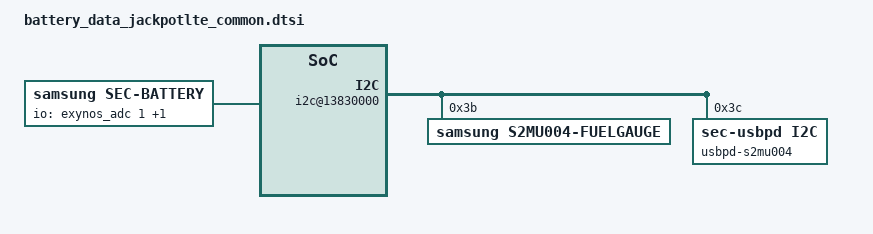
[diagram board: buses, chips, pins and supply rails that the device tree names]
/*
 * Jackpot Battery parameters device tree file for board IDs 04 and higher
 *
 * Copyright (C) 2017 Samsung Electronics, Inc.
 *
 * This program is free software; you can redistribute it and/or
 * modify it under the terms of the GNU General Public License
 * as published by the Free Software Foundation; either version 2
 * of the License, or (at your option) any later version.
 *
 * This program is distributed in the hope that it will be useful,
 * but WITHOUT ANY WARRANTY; without even the implied warranty of
 * MERCHANTABILITY or FITNESS FOR A PARTICULAR PURPOSE.  See the
 * GNU General Public License for more details.
 *
 * You should have received a copy of the GNU General Public License
 * along with this program. If not, see <http://www.gnu.org/licenses/>.
 *
 */

/ {
	pinctrl@11CB0000 {
		fuel_irq: fuel-irq {
			samsung,pins = "gpa2-4";
			samsung,pin-function = <0>;
			samsung,pin-pud = <2>;
			samsung,pin-drv = <0>;
		};

		if_pmic_irq: if-pmic-irq {
			samsung,pins = "gpa2-2";
			samsung,pin-function = <0>;
			samsung,pin-pud = <0>;
			samsung,pin-drv = <0>;
		};

		usbpd_irq: usbpd-irq {
			samsung,pins = "gpa2-3";
			samsung,pin-function = <0x0f>;
			samsung,pin-pud = <0>;
			samsung,pin-drv = <0>;
		};
	};

	i2c@13830000 {
		i2c-gpio,delay-us = <5>;
		status = "okay";
		s2mu004-fuelgauge@3B {
			compatible = "samsung,s2mu004-fuelgauge";
			reg = <0x3B>;
			pinctrl-names = "default";
			pinctrl-0 = <&fuel_irq>;
			fuelgauge,fuel_int = <&gpa2 4 0>;
			fuelgauge,fuel_alert_soc = <1>;
			fuelgauge,fuel_alert_vol = <3300>;
			fuelgauge,low_temp_limit = <100>;
			fuelgauge,sw_vbat_l_recovery_vol = <3465>;
			fuelgauge,capacity_max = <1000>;
			fuelgauge,capacity_max_margin = <200>;
			fuelgauge,capacity_min = <0>;
			fuelgauge,capacity_calculation_type = <28>;
			fuelgauge,capacity_full = <3000>;
			fuelgauge,type_str = "SDI";
			fuelgauge,model_type = <1>;
			fuelgauge,fg_log_enable = <1>;
		};

		usbpd-s2mu004@3C {
			compatible = "sec-usbpd,i2c";
			reg = <0x3C>;
			pinctrl-names = "default";
			pinctrl-0     = <&usbpd_irq>;
			usbpd,usbpd_int = <&gpa2 3 0>;
		};
	};

	battery_params {
			battery,battery_data =
				<
				/***** battery data for 4.35 *****/
				/* battery,battery_table3 */
				136 11 5 11 131 10 1 10 140 9
				29 9 181 8 87 8 214 7 155 7
				62 7 222 6 167 6 126 6 93 6
				66 6 34 6 250 5 196 5 146 5
				7 5 196 1 215 8 106 8 253 7
				143 7 34 7 181 6 71 6 218 5
				108 5 255 4 146 4 36 4 183 3
				73 3 220 2 111 2 1 2 148 1
				38 1 185 0 76 0 222 15

				/* battery,battery_table4 */
				58 58 58 58 59 59 59 60 60 59
				59 59 60 60 61 63 64 67 71 78
				90 179

				/* battery,batcap */
				0x38 0x2C 0x0E 0x0B /* [0x0E] [0x0F] [0x10] [0x11] */
				/* battery,accum */
				0x7 0xD7 /* [0x45] [0x44] */

				/* battery,soc_arr_val */
				11052 10518 9984 9450 8916 8382 7848 7312 6778 6245
				5711 5177 4643 4109 3575 3041 2507 1971 1438 903
				370 (-164)
				/* battery,ocv_arr_val */
				44414 43777 43139 42504 41935 41392 40884 40426 39797 39508
				39052 38582 38315 38113 37953 37820 37665 37471 37207 36964
				36286 32208

				/***** battery data for 4.33 *****/
				/* battery,battery_table3 */
				136 11 5 11 131 10 1 10 140 9
				29 9 181 8 87 8 214 7 155 7
				62 7 222 6 167 6 126 6 93 6
				65 6 34 6 250 5 196 5 146 5
				7 5 196 1 238 8 127 8 17 8
				162 7 52 7 197 6 87 6 232 5
				122 5 11 5 157 4 47 4 192 3
				82 3 227 2 117 2 6 2 152 1
				41 1 187 0 76 0 222 15

				/* battery,battery_table4 */
				58 58 58 58 59 59 59 60 60 59
				59 59 60 60 61 63 64 67 71 78
				90 179

				/* battery,batcap */
				0x68 0x2E 0x9A 0x0B /* [0x0E] [0x0F] [0x10] [0x11] */
				/* battery,accum */
				0x7 0xD7 /* [0x45] [0x44] */

				/* battery,soc_arr_val */
				11160 10621 10082 9542 9003 8464 7924 7385 6846 6306
				5767 5228 4688 4149 3609 3070 2531 1991 1452 913
				373 (-166)
				/* battery,ocv_arr_val */
				44414 43777 43139 42505 41935 41393 40884 40425 39797 39508
				39053 38582 38315 38113 37953 37819 37665 37471 37207 36964
				36285 32208
		
				/***** battery data for 4.31 *****/
				/* battery,battery_table3 */
				136 11 5 11 131 10 1 10 140 9
				29 9 181 8 87 8 214 7 155 7
				62 7 222 6 167 6 126 6 93 6
				65 6 34 6 250 5 196 5 146 5
				7 5 196 1 7 9 152 8 40 8
				184 7 73 7 217 6 106 6 250 5
				138 5 27 5 171 4 60 4 204 3
				93 3 237 2 126 2 14 2 158 1
				47 1 191 0 80 0 224 15

				/* battery,battery_table4 */
				58 58 58 58 59 59 59 60 60 59
				59 59 60 60 61 63 64 67 71 78
				90 179

				/* battery,batcap */
				0xA0 0x2D 0x68 0x0B /* [0x0E] [0x0F] [0x10] [0x11] */
				/* battery,accum */
				0x7 0xD7 /* [0x45] [0x44] */

				/* battery,soc_arr_val */
				11285 10740 10195 9650 9106 8561 8016 7471 6926 6382
				5837 5292 4747 4202 3658 3113 2567 2023 1477 934
				388 (-156)
				/* battery,ocv_arr_val */
				44414 43777 43139 42505 41936 41393 40884 40425 39797 39508
				39053 38582 38315 38113 37953 37819 37665 37471 37207 36964
				36285 32208

				/***** battery data for 4.29 *****/
				/* battery,battery_table3 */
				136 11 5 11 131 10 1 10 140 9
				29 9 181 8 87 8 214 7 155 7
				62 7 222 6 167 6 126 6 93 6
				66 6 34 6 250 5 196 5 146 5
				8 5 196 1 61 9 203 8 89 8
				231 7 116 7 2 7 144 6 29 6
				171 5 57 5 198 4 84 4 226 3
				111 3 253 2 139 2 25 2 166 1
				52 1 194 0 79 0 221 15

				/* battery,battery_table4 */
				58 58 58 58 59 59 59 60 60 59
				59 59 60 60 61 63 64 67 71 78
				90 179

				/* battery,batcap */
				0xD8 0x2C 0x36 0x0B /* [0x0E] [0x0F] [0x10] [0x11] */
				/* battery,accum */
				0x7 0xD7 /* [0x45] [0x44] */

				/* battery,soc_arr_val */
				11550 10992 10434 9876 9318 8759 8201 7643 7085 6526
				5969 5411 4852 4294 3736 3178 2620 2062 1503 945
				387 (-171)

				/* battery,ocv_arr_val */
				44416 43777 43137 42505 41935 41393 40884 40425 39797 39508
				39053 38582 38315 38113 37953 37820 37665 37471 37207 36964
				36287 32208

				/***** battery data for 4.24 *****/
				/* battery,battery_table3 */
				136 11 5 11 131 10 1 10 140 9
				29 9 181 8 87 8 214 7 155 7
				62 7 222 6 167 6 126 6 93 6
				65 6 34 6 250 5 196 5 146 5
				7 5 196 1 174 9 54 9 190 8
				71 8 207 7 87 7 223 6 104 6
				240 5 120 5 0 5 137 4 17 4
				153 3 33 3 170 2 50 2 186 1
				66 1 203 0 83 0 219 15

				/* battery,battery_table4 */
				58 58 58 58 59 59 59 60 60 59
				59 59 60 60 61 63 64 67 71 78
				90 179

				/* battery,batcap */
				0xD0 0x2A 0xB4 0x0A/* [0x0E] [0x0F] [0x10] [0x11] */
				/* batteryaccum */
				0x7 0xD7 /* [0x45] [0x44] */

				/* batterysoc_arr_val */
				12100 11515 10930 10345 9761 9176 8591 8006 7422 6837
				6252 5667 5083 4498 3913 3328 2744 2159 1574 989
				405 (-180)

				/* batteryocv_arr_val */
				44414 43777 43139 42504 41935 41393 40884 40425 39797 39508
				39052 38582 38315 38113 37953 37819 37665 37471 37207 36964
				36285 32208
				>;

			battery,battery_table3 = <
						136 11 5 11 131 10 1 10 140 9
						29 9 181 8 87 8 214 7 155 7
						62 7 222 6 167 6 126 6 93 6
						66 6 34 6 250 5 196 5 146 5
						7 5 196 1 215 8 106 8 253 7
						143 7 34 7 181 6 71 6 218 5
						108 5 255 4 146 4 36 4 183 3
						73 3 220 2 111 2 1 2 148 1
						38 1 185 0 76 0 222 15
						>;

			battery,battery_table4 = <
						58 58 58 58 59 59 59 60 60 59
						59 59 60 60 61 63 64 67 71 78
						90 179
						>;

			battery,batcap = <0x38 0x2C 0x0E 0x0B>; /* [0x0E] [0x0F] [0x10] [0x11] */
			battery,accum = <0x7 0xD7>; /* [0x45] [0x44] */

			battery,soc_arr_val = <
						11052 10518 9984 9450 8916 8382 7848 7312 6778 6245
						5711 5177 4643 4109 3575 3041 2507 1971 1438 903
						370 (-164)
						>;
			battery,ocv_arr_val = <
						44414 43777 43139 42504 41935 41392 40884 40426 39797 39508
						39052 38582 38315 38113 37953 37820 37665 37471 37207 36964
						36286 32208
						>;
	};

	pdic-manager {
		/* sink */
		pdic,max_power = <5000>;
		pdic,op_power = <2500>;
		pdic,max_voltage = <6000>;
		pdic,max_current = <2000>;
		pdic,min_current = <500>;

		pdic,giveback = <0>;
		pdic,usb_com_capable = <1>;
		pdic,no_usb_suspend = <1>;

		/* source */
		source,max_voltage = <5000>;
		source,min_voltage = <4000>;
		source,max_power = <2500>;

		/* sink cap */
		sink,capable_max_voltage = <9000>;
	};

	battery {
		status = "okay";
		compatible = "samsung,sec-battery";

		pinctrl-names = "default";

		battery,vendor = "Battery";
		battery,charger_name = "s2mu004-charger";
		battery,fuelgauge_name = "s2mu004-fuelgauge";
		battery,technology = <2>; /* POWER_SUPPLY_TECHNOLOGY_LION */
		battery,fgsrc_switch_name = "s2mu004-fuelgauge"; /* Fuelgauge voltage source */

		battery,batt_data_version = <2>;

		battery,chip_vendor = "LSI";
		battery,temp_adc_type = <1>; /* SEC_BATTERY_ADC_TYPE_AP */

		battery,temp_check_type = <2>; /* SEC_BATTERY_TEMP_CHECK_TEMP */
		battery,chg_temp_check = <1>;

		battery,thermal_source = <2>; /* SEC_BATTERY_THERMAL_SOURCE_ADC */
		battery,chg_thermal_source = <2>; /* SEC_CHARGER_THERMAL_SOURCE_FG */

		battery,polling_time = <10 30 30 30 3600>;

		battery,temp_table_adc = <
					236 330 397 462 542 635 690 738 789 867
					1007 1178 1281 1357 1432 1551 1762 1983 2216 2460
					2594 2683 2763 2898 3098 3264 3410 3508 3636
					>;
		battery,temp_table_data = <
					900 850 800 750 700 650 620 600 580 550
					500 450 420 400 380 350 300 250 200 150
					120 100 80 50 0 (-50) (-100) (-150) (-200)
					>;

		battery,inbat_voltage = <1>;

		battery,inbat_voltage_table_adc = <2810 2793 2765 2737 2711 2683 2656 2631 2602 2573
						2545 2515 2486 2459 2434 2408 2379 2353 2324 2294 2266>;
		battery,inbat_voltage_table_data = <4380 4350 4300 4250 4200 4150 4100 4050 4000 3950
						3900 3850 3800 3750 3700 3650 3600 3550 3500 3450 3400>;

		battery,adc_check_count = <5>;

		battery,cable_check_type = <4>; /* SEC_BATTERY_CABLE_CHECK_PSY */
		battery,cable_source_type = <1>; /* SEC_BATTERY_CABLE_SOURCE_EXTERNAL */
		battery,polling_type = <1>; /* SEC_BATTERY_MONITOR_ALARM */
		battery,monitor_initial_count = <0>;

		battery,pre_afc_input_current = <500>;

		battery,battery_check_type = <0>; /* SEC_BATTERY_CHECK_NONE */
		battery,check_count = <0>;
		battery,check_adc_max = <1440>;
		battery,check_adc_min = <0>;

		battery,ovp_uvlo_check_type = <3>; /* SEC_BATTERY_OVP_UVLO_CHGPOLLING */

		battery,temp_check_count = <1>;
		battery,temp_highlimit_threshold_event = <800>;
		battery,temp_highlimit_recovery_event = <750>;
		battery,temp_high_threshold_event = <500>;
		battery,temp_high_recovery_event = <450>;
		battery,temp_low_threshold_event = <0>;
		battery,temp_low_recovery_event = <50>;
		battery,temp_highlimit_threshold_normal = <800>;
		battery,temp_highlimit_recovery_normal = <750>;
		battery,temp_high_threshold_normal = <500>;
		battery,temp_high_recovery_normal = <450>;
		battery,temp_low_threshold_normal = <0>;
		battery,temp_low_recovery_normal = <50>;
		battery,temp_highlimit_threshold_lpm = <800>;
		battery,temp_highlimit_recovery_lpm = <750>;
		battery,temp_high_threshold_lpm = <500>;
		battery,temp_high_recovery_lpm = <450>;
		battery,temp_low_threshold_lpm = <0>;
		battery,temp_low_recovery_lpm = <50>;
		battery,wpc_high_threshold_normal = <450>;
		battery,wpc_high_recovery_normal = <400>;
		battery,wpc_low_threshold_normal = <0>;
		battery,wpc_low_recovery_normal = <50>;

		battery,full_check_type = <2>; /* SEC_BATTERY_FULLCHARGED_FG_CURRENT */
		battery,full_check_type_2nd = <2>; /* SEC_BATTERY_FULLCHARGED_FG_CURRENT */
		battery,full_check_count = <1>;
		battery,chg_gpio_full_check = <0>;
		battery,chg_polarity_full_check = <1>;

		battery,chg_heating_prevention_method = <1>; /* SEC_BATTERY_BY_CHANGING_CURRENT */
		battery,chg_high_temp = <460>;
		battery,chg_high_temp_recovery = <440>;
		battery,chg_input_limit_current = <1000>;
		battery,chg_charging_limit_current = <1250>; 

		battery,wpc_high_temp = <410>;
		battery,wpc_high_temp_recovery = <400>;
		battery,wpc_charging_limit_current = <450>;
		battery,wpc_lcd_on_high_temp = <430>;
		battery,wpc_lcd_on_high_temp_rec = <300>;

		battery,wpc_store_high_temp = <410>;
		battery,wpc_store_high_temp_recovery = <400>;
		battery,wpc_store_lcd_on_high_temp = <380>;
		battery,wpc_store_lcd_on_high_temp_rec = <300>;

		battery,sleep_mode_limit_current = <500>;
		battery,wc_full_input_limit_current = <100>;
		battery,wc_cv_current = <820>;
		battery,wc_cv_pack_current = <630>;
		battery,wc_hero_stand_cc_cv = <70>;
		battery,wc_hero_stand_cv_current = <600>;
		battery,wc_hero_stand_hv_cv_current = <450>;

		battery,mix_high_temp = <420>;
		battery,mix_high_chg_temp = <500>;
		battery,mix_high_temp_recovery = <390>;

		/*
		 * SEC_BATTERY_FULL_CONDITION_SOC |
		 * SEC_BATTERY_FULL_CONDITION_NOTIMEFULL |
		 * SEC_BATTERY_FULL_CONDITION_VCELL
		 */
		battery,full_condition_type = <13>;
		battery,full_condition_soc = <93>;
		battery,full_condition_vcell = <4250>;

		battery,recharge_check_count = <1>;
		battery,recharge_condition_type = <4>; /* SEC_BATTERY_RECHARGE_CONDITION_VCELL */
		battery,recharge_condition_soc = <98>;
		battery,recharge_condition_vcell = <4280>;

		battery,charging_total_time = <14400>;
		battery,hv_charging_total_time = <10800>;
		battery,normal_charging_total_time = <18000>;
		battery,usb_charging_total_time = <36000>;
		battery,recharging_total_time = <5400>;
		battery,charging_reset_time = <0>;

		battery,chg_float_voltage = <4350>;

		battery,swelling_high_temp_block = <410>;
		battery,swelling_high_temp_recov = <390>;
		battery,swelling_wc_high_temp_recov = <390>;
		battery,swelling_low_temp_block_1st = <150>;
		battery,swelling_low_temp_recov_1st = <200>;
		battery,swelling_low_temp_block_2nd = <50>;
		battery,swelling_low_temp_recov_2nd = <100>;

		battery,swelling_low_temp_current = <700>;	/* 0.3C */
		battery,swelling_low_temp_topoff = <150>;	/* 0.05C */
		battery,swelling_high_temp_current = <1050>;	/* 0.45C */
		battery,swelling_high_temp_topoff = <150>;	/* 0.05C */
		battery,swelling_wc_high_temp_current = <700>;	/* 0.3C */
		battery,swelling_wc_low_temp_current = <700>;	/* 0.3C */

		battery,swelling_drop_float_voltage = <4150>;
		battery,swelling_high_rechg_voltage = <4000>;
		battery,swelling_low_rechg_voltage = <4000>;

		battery,siop_event_check_type = <1>;
		battery,siop_call_cv_current = <330>;
		battery,siop_call_cc_current = <330>;

		battery,siop_input_limit_current = <1200>;
		battery,siop_charging_limit_current = <1000>;
		battery,siop_hv_input_limit_current = <700>;
		battery,siop_hv_charging_limit_current = <1000>;

		battery,siop_wireless_input_limit_current = <600>;
		battery,siop_wireless_charging_limit_current = <700>;
		battery,siop_hv_wireless_input_limit_current = <600>;
		battery,siop_hv_wireless_charging_limit_current = <700>;
		battery,siop_store_hv_wireless_input_limit_current = <450>;

		battery,ttf_hv_charge_current = <2150>;
		battery,ttf_hv_wireless_charge_current = <1050>;
		battery,ttf_wireless_charge_current = <900>;

		battery,pd_charging_charge_power = <15000>;
		battery,max_charging_current = <2150>;
		battery,battery_full_capacity = <3000>;

		/* cycle, chg_float_voltage, recharge_condition_vcell, full_condition_vcell, full_condition_soc */
		battery,age_data = <0 4350 4280 4250 93	/*4.35*/
				200 4330 4260 4230 92	/*4.33*/
				250 4310 4240 4210 91	/*4.31*/
				300 4290 4220 4190 90	/*4.29*/
				1000 4240 4170 4140 89	/*4.24*/
				>;

		battery,max_input_voltage = <9000>; /* mV */
		battery,max_input_current = <3000>;  /* mA */

		battery,prepare_afc_delay = <0>;

		battery,enable_water_resistance;

		battery,standard_curr = <2150>;
		battery,expired_time = <10380>; /* 113 + 60 minutes */
		battery,recharging_expired_time = <5400>;

		battery,cisd_max_voltage_thr = <5000>; /* battery ovp detection voltage */

		battery,cisd_alg_index = <7>;

		io-channels = <&exynos_adc 1>, <&exynos_adc 2>;
		io-channel-names = "adc-temp", "adc-in-bat";
		#io-channel-cells = <5>;
		io-channel-ranges;
	};

/* sec_battery_cable
 *   0	UNKNOWN,
 *   1	NONE,
 *   2	PREPARE_TA,
 *   3	TA,
 *   4	USB,
 *   5	USB_CDP,
 *   6	9V_TA,
 *   7	9V_ERR,
 *   8	9V_UNKNOWN,
 *   9	12V_TA,
 *  10	WIRELESS,
 *  11	HV_WIRELESS,
 *  12	PMA_WIRELESS,
 *  13	WIRELESS_PACK,
 *  14	WIRELESS_PACK_TA,
 *  15	WIRELESS_STAND,
 *  16	WIRELESS_HV_STAND,
 *  17	QC20,
 *  18	QC30,
 *  19	PDIC,
 *  20	UARTOFF,
 *  21	OTG,
 *  22	LAN_HUB,
 *  23	POWER_SHARING,
 *  24	HMT_CONNECTED,
 *  25	HMT_CHARGE,
 *  26	HV_TA_CHG_LIMIT,
 *  27	WIRELESS_VEHICLE,
 *  28	WIRELESS_HV_VEHICLE,
 *  29	PREPARE_WIRELESS_HV,
 *  30	TIMEOUT,
 *  31	CABLE_MAX,
 */
	cable-info {
		default_input_current = <1800>;
		default_charging_current = <2100>;
		full_check_current_1st = <300>;
		full_check_current_2nd = <150>;

		current_group_1 {
			cable_number = <1 4 19 21 22 23 30>;
			input_current = <500>;
			charging_current = <500>;
		};

		current_group_2 {
			cable_number = <2 25>;
			input_current = <1000>;
			charging_current = <1000>;
		};

		current_group_3 {
			cable_number = <5>;
			input_current = <1500>;
			charging_current = <1500>;
		};

		current_group_4 {
			cable_number = <6 7 8>;
			input_current = <1650>;
			charging_current = <2150>;
		};

		current_group_5 {
			cable_number = <9>;
			input_current = <1650>;
			charging_current = <2150>;
		};

		current_group_6 {
			cable_number = <10 12 14 15 27>;
			input_current = <900>;
			charging_current = <1200>;
		};

		current_group_7 {
			cable_number = <13>;
			input_current = <700>;
			charging_current = <1200>;
		};

		current_group_8 {
			cable_number = <24>;
			input_current = <1000>;
			charging_current = <450>;
		};

		current_group_9 {
			cable_number = <26>;
			input_current = <2000>;
			charging_current = <1800>;
		};

		current_group_10 {
			cable_number = <11 16 28>;
			input_current = <650>;
			charging_current = <1200>;
		};

		current_group_11 {
			cable_number = <29>;
			input_current = <500>;
			charging_current = <1200>;
		};
	};

	s2mu004-charger {
		status = "disable";
		compatible = "samsung,s2mu004-charger";
	};
};
